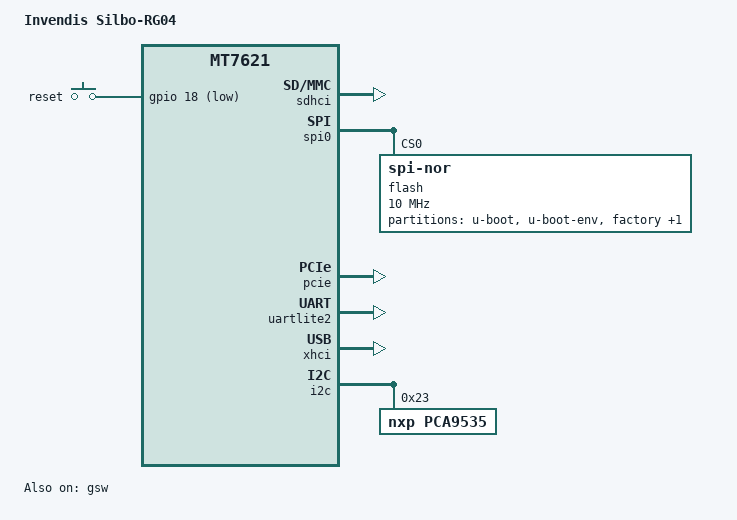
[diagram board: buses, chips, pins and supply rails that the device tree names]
#include "mt7621.dtsi"

#include <dt-bindings/gpio/gpio.h>
#include <dt-bindings/input/input.h>

/ {
	compatible = "invendis,silbo-RG04", "mediatek,mt7621-soc";
	model = "Invendis Silbo-RG04";

	chosen {
		bootargs = "console=ttyS0,115200";
	};

	keys {
		compatible = "gpio-keys";

		reset {
			label = "reset";
			gpios = <&gpio 18 GPIO_ACTIVE_LOW>;
			linux,code = <KEY_RESTART>;
		};
	};
};

&sdhci {
	status = "okay";
};

&spi0 {
	status = "okay";

	flash@0 {
		compatible = "jedec,spi-nor";
		reg = <0>;
		spi-max-frequency = <10000000>;
		broken-flash-reset;

		partitions {
			compatible = "fixed-partitions";
			#address-cells = <1>;
			#size-cells = <1>;

			partition@0 {
				label = "u-boot";
				reg = <0x0 0x30000>;
			};

			partition@30000 {
				label = "u-boot-env";
				reg = <0x30000 0x10000>;
			};

			factory: partition@40000 {
				label = "factory";
				reg = <0x40000 0x10000>;
			};

			firmware: partition@50000 {
				compatible = "denx,uimage";
				label = "firmware";
				reg = <0x50000 0x1fb0000>;
			};
		};
	};
};

&pcie {
	status = "okay";
};

&pcie1 {
	mt76@0,0 {
        mediatek,mtd-eeprom = <&factory 0x0000>;
        mtd-mac-address = <&factory 0x0000>;
        ieee80211-freq-limit = <2400000 2500000>;

		led {
			led-sources = <2>;
		};
	};
};

&pcie2 {
	mt76@1,0 {
        mediatek,mtd-eeprom = <&factory 0x8000>;
        mtd-mac-address = <&factory 0x8000>;
        ieee80211-freq-limit = <5000000 6000000>;
	};
};

&gmac0 {
	mtd-mac-address = <&factory 0xe000>;
};

&gsw {
	mediatek,portmap = "lwwww";
	status = "okay";
};

&hnat {
	mtketh-wan = "eth0.2";
	mtketh-ppd = "eth0.1";
	mtketh-lan = "eth0";
	mtketh-max-gmac = <1>;
	/delete-property/ mtkdsa-wan-port;
};

&switch0 {
	status = "disabled";
};

&state_default {
	gpio {
		groups = "wdt", "uart2";
		function = "gpio";
	};
};

&uartlite2 {																																									
	status = "okay";
};

&xhci {
	status = "okay";
};

&i2c {
	status = "okay";
	compatible = "mediatek,mt7621-i2c", "i2c-gpio";
	
	i2c-gpio,delay-us = <10>;
	
	pca9535@23 {
	compatible = "nxp,pca9535";
	reg = <0x23>; 
	gpio-controller;
	};
};
